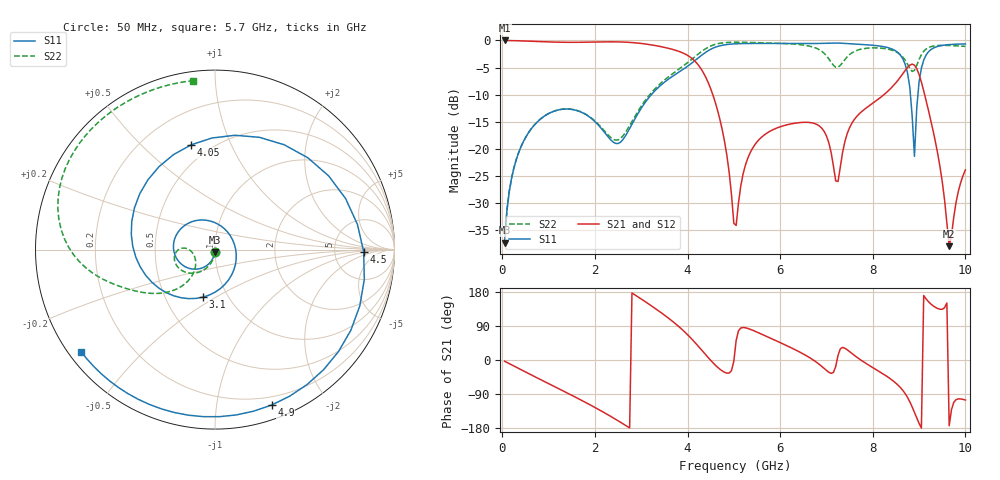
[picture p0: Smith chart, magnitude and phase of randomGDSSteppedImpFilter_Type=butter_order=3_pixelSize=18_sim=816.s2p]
! freq	dB(S11)	phase(S11)	dB(S12)	phase(S12)
!  dB(S21)	phase(S21)	dB(S22)	phase(S22)
!S-par simulation data
#  GHz  S  DB  R 50
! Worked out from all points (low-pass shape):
!   200 points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, 50 MHz to 10 GHz, reference 50 ohm
!   highest |S21| = -0.01 dB at 50 MHz (marker M1); lowest = -38.0 dB at 9.65 GHz (marker M2)
!   |S21| within 3 dB of the highest: start of sweep to 4.045 GHz
!   lowest |S11| = -37.3 dB at 50 MHz (marker M3), VSWR 1.03, Z = 49.9 - j1.36 ohm
!   |S11| at or under -10 dB: start of sweep to 3.22 GHz; 8.813 GHz to 8.975 GHz (162.5 MHz wide, 1.83 % of centre)
!   |S22| runs from -37.3 to -0.3 dB; largest |S21 - S12| = 0
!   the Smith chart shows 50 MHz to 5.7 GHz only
!   S11 on the Smith chart (normalised r, x): 50 MHz: 1.00, -0.03; 3.1 GHz: 0.77, -0.44; 4.05 GHz: 0.40, +0.72; 4.5 GHz: 11, -1; 4.9 GHz: 0.12, -1.42; 5.7 GHz: 0.04, -0.34
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0.05  -37.33 -92.6  -0.01 -3.2  -0.01 -3.2  -37.32 -91.9
0.55  -17.24 -129.1  -0.13 -34.6  -0.13 -34.6  -17.23 -121.0
1.75  -13.42 139.0  -0.34 -108.9  -0.34 -108.9  -13.37 -177.1
2.5  -19.01 15.2  -0.27 -160.3  -0.27 -160.3  -18.35 -156.1
3.1  -11.28 -104.1  -0.67 152.9  -0.67 152.9  -10.91 -132.8
3.4  -8.43 -145.3  -1.10 127.5  -1.10 127.5  -8.07 -141.9
4.05  -4.45 102.7  -3.04 60.7  -3.04 60.7  -3.77 -165.4
4.5  -1.64 -0.8  -8.92 -1.0  -8.92 -1.0  -1.04 168.8
4.9  -0.71 -70.0  -24.41 -34.3  -24.41 -34.3  -0.36 142.0
5.05  -0.62 -88.4  -34.13 51.5  -34.13 51.5  -0.33 133.1
5.25  -0.57 -108.6  -23.00 85.0  -23.00 85.0  -0.36 121.9
5.7  -0.55 -142.7  -17.18 62.6  -17.18 62.6  -0.46 97.3
6.7  -0.57 165.6  -15.23 1.3  -15.23 1.3  -1.20 21.0
7.1  -0.50 148.1  -20.63 -35.2  -20.63 -35.2  -4.02 -74.3
7.35  -0.53 136.5  -20.57 33.3  -20.57 33.3  -4.05 161.5
7.65  -0.69 123.3  -14.06 7.8  -14.06 7.8  -1.86 84.5
8.35  -1.39 87.4  -9.17 -46.9  -9.17 -46.9  -1.65 11.8
8.75  -5.97 46.3  -4.99 -98.7  -4.99 -98.7  -4.36 -16.9
8.9  -21.38 102.4  -4.56 -138.4  -4.56 -138.4  -5.53 -4.9
9.1  -3.63 124.6  -9.31 170.1  -9.31 170.1  -2.01 -10.0
9.65  -0.77 76.3  -37.95 -173.5  -37.95 -173.5  -0.93 -57.7
10  -0.65 59.4  -23.89 -105.7  -23.89 -105.7  -1.11 -83.6
